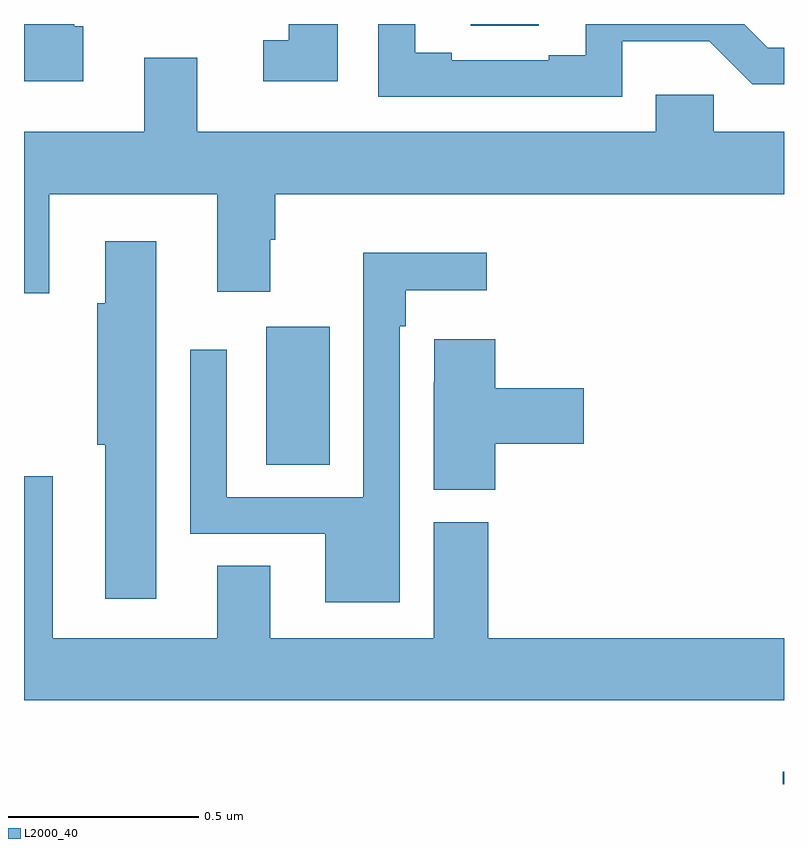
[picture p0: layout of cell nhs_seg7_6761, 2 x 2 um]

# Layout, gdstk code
import gdstk
lib = gdstk.Library(unit=1e-6, precision=1e-09)
def R(c, l, rs):  # rectangles x0, y0, x1, y1
    for r in rs: c.add(gdstk.rectangle(r[:2], r[2:], *l))
def P(c, l, *ps):  # polygons
    for p in ps: c.add(gdstk.Polygon(p, *l))
L2000_40 = (2000, 40)

nhs_seg7_6761 = lib.new_cell('nhs_seg7_6761')
R(nhs_seg7_6761, L2000_40, [(203.997,1063,204,1063.032), (202.637,1063.84,202.804,1064.203), (203.175,1064.995,203.354,1065)])
P(nhs_seg7_6761, L2000_40, [(203.574,1064.954),(203.803,1064.954),(203.916,1064.841),(204,1064.841),(204,1064.938),(203.957,1064.938),(203.895,1065),(203.478,1065),(203.478,1064.918),(203.381,1064.918),(203.381,1064.904),(203.125,1064.904),(203.125,1064.924),(203.029,1064.924),(203.029,1065),(202.932,1065),(202.932,1064.808),(203.574,1064.808)],
  [(202.825,1065),(202.697,1065),(202.697,1064.957),(202.629,1064.957),(202.629,1064.849),(202.825,1064.849)],
  [(202.156,1064.994),(202.132,1064.994),(202.132,1065),(202,1065),(202,1064.85),(202.156,1064.85)],
  [(202.456,1064.911),(202.316,1064.911),(202.316,1064.716),(202,1064.716),(202,1064.292),(202.066,1064.292),(202.066,1064.552),(202.508,1064.552),(202.508,1064.295),(202.648,1064.295),(202.648,1064.432),(202.661,1064.432),(202.661,1064.552),(204,1064.552),(204,1064.716),(203.815,1064.716),(203.815,1064.814),(203.663,1064.814),(203.663,1064.716),(202.456,1064.716)],
  [(202.348,1064.428),(202.214,1064.428),(202.214,1064.265),(202.193,1064.265),(202.193,1063.893),(202.214,1063.893),(202.214,1063.488),(202.348,1063.488)],
  [(202.989,1064.204),(203.005,1064.204),(203.005,1064.3),(203.218,1064.3),(203.218,1064.398),(202.893,1064.398),(202.893,1063.755),(202.533,1063.755),(202.533,1064.143),(202.437,1064.143),(202.437,1063.659),(202.793,1063.659),(202.793,1063.478),(202.989,1063.478)],
  [(203.24,1063.895),(203.473,1063.895),(203.473,1064.042),(203.24,1064.042),(203.24,1064.17),(203.079,1064.17),(203.079,1064.057),(203.078,1064.057),(203.078,1063.774),(203.24,1063.774)],
  [(204,1063.384),(203.222,1063.384),(203.222,1063.689),(203.078,1063.689),(203.078,1063.384),(202.648,1063.384),(202.648,1063.574),(202.508,1063.574),(202.508,1063.384),(202.075,1063.384),(202.075,1063.81),(202,1063.81),(202,1063.22),(204,1063.22)])

lib.write_gds('nhs_seg7_6761.gds')
